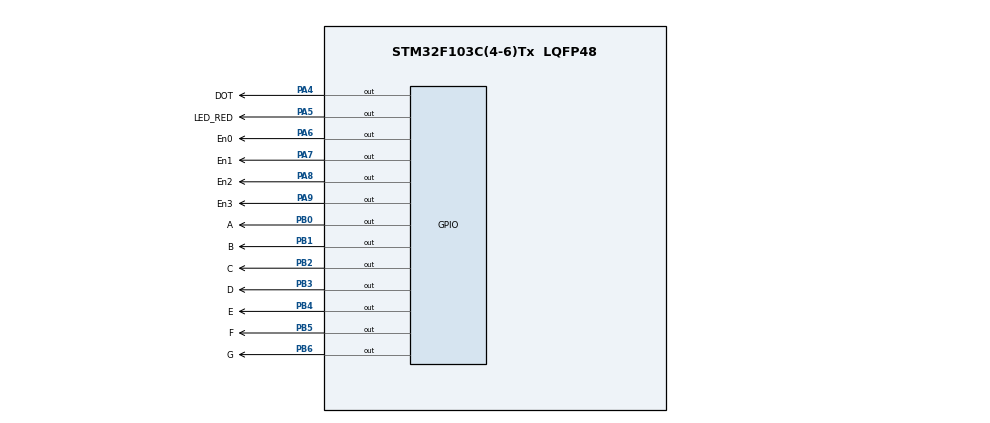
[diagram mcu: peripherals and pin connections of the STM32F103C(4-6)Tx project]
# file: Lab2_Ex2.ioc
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Mcu.Family=STM32F1
Mcu.Name=STM32F103C(4-6)Tx
Mcu.Package=LQFP48
NVIC.PriorityGroup=NVIC_PRIORITYGROUP_4
NVIC.TIM2_IRQn=true\:0\:0\:false\:false\:true\:true\:true
PA4.GPIO_Label=DOT
PA4.Signal=GPIO_Output
PA5.GPIO_Label=LED_RED
PA5.Signal=GPIO_Output
PA6.GPIO_Label=En0
PA6.Signal=GPIO_Output
PA7.GPIO_Label=En1
PA7.Signal=GPIO_Output
PA8.GPIO_Label=En2
PA8.Signal=GPIO_Output
PA9.GPIO_Label=En3
PA9.Signal=GPIO_Output
PB0.GPIO_Label=A
PB0.Signal=GPIO_Output
PB1.GPIO_Label=B
PB1.Signal=GPIO_Output
PB2.GPIO_Label=C
PB2.Signal=GPIO_Output
PB3.GPIO_Label=D
PB3.Signal=GPIO_Output
PB4.GPIO_Label=E
PB4.Signal=GPIO_Output
PB5.GPIO_Label=F
PB5.Signal=GPIO_Output
PB6.GPIO_Label=G
PB6.Signal=GPIO_Output
ProjectManager.HeapSize=0x200
ProjectManager.StackSize=0x400
ProjectManager.TargetToolchain=STM32CubeIDE
RCC.APB1Freq_Value=8000000
RCC.APB2Freq_Value=8000000
TIM2.Period=9
TIM2.Prescaler=7999
VP_SYS_VS_ND.Mode=No_Debug
VP_TIM2_VS_ClockSourceINT.Mode=Internal
board=custom

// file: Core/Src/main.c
/* USER CODE BEGIN Header */
/**
  ******************************************************************************
  * @file           : main.c
  * @brief          : Main program body
  ******************************************************************************
  * @attention
  *
  * <h2><center>&copy; Copyright (c) 2023 STMicroelectronics.
  * All rights reserved.</center></h2>
  *
  * This software component is licensed by ST under BSD 3-Clause license,
  * the "License"; You may not use this file except in compliance with the
  * License. You may obtain a copy of the License at:
  *                        opensource.org/licenses/BSD-3-Clause
  *
  ******************************************************************************
  */
/* USER CODE END Header */
#include "main.h"

TIM_HandleTypeDef htim2;

void SystemClock_Config(void);
static void MX_GPIO_Init(void);
static void MX_TIM2_Init(void);

/* USER CODE BEGIN 0 */
void display7SEG(int num) {
	switch(num) {
		case 0:
			HAL_GPIO_WritePin(A_GPIO_Port,A_Pin,RESET);
			HAL_GPIO_WritePin(B_GPIO_Port,B_Pin,RESET);
			HAL_GPIO_WritePin(C_GPIO_Port,C_Pin,RESET);
			HAL_GPIO_WritePin(D_GPIO_Port,D_Pin,RESET);
			HAL_GPIO_WritePin(E_GPIO_Port,E_Pin,RESET);
			HAL_GPIO_WritePin(F_GPIO_Port,F_Pin,RESET);
			HAL_GPIO_WritePin(G_GPIO_Port,G_Pin,SET);
			break;

		case 1:
			HAL_GPIO_WritePin(A_GPIO_Port,A_Pin,SET);
			HAL_GPIO_WritePin(B_GPIO_Port,B_Pin,RESET);
			HAL_GPIO_WritePin(C_GPIO_Port,C_Pin,RESET);
			HAL_GPIO_WritePin(D_GPIO_Port,D_Pin,SET);
			HAL_GPIO_WritePin(E_GPIO_Port,E_Pin,SET);
			HAL_GPIO_WritePin(F_GPIO_Port,F_Pin,SET);
			HAL_GPIO_WritePin(G_GPIO_Port,G_Pin,SET);
			break;

		case 2:
			HAL_GPIO_WritePin(A_GPIO_Port,A_Pin,RESET);
			HAL_GPIO_WritePin(B_GPIO_Port,B_Pin,RESET);
			HAL_GPIO_WritePin(C_GPIO_Port,C_Pin,SET);
			HAL_GPIO_WritePin(D_GPIO_Port,D_Pin,RESET);
			HAL_GPIO_WritePin(E_GPIO_Port,E_Pin,RESET);
			HAL_GPIO_WritePin(F_GPIO_Port,F_Pin,SET);
			HAL_GPIO_WritePin(G_GPIO_Port,G_Pin,RESET);
			break;

		case 3:
			HAL_GPIO_WritePin(A_GPIO_Port,A_Pin,RESET);
			HAL_GPIO_WritePin(B_GPIO_Port,B_Pin,RESET);
			HAL_GPIO_WritePin(C_GPIO_Port,C_Pin,RESET);
			HAL_GPIO_WritePin(D_GPIO_Port,D_Pin,RESET);
			HAL_GPIO_WritePin(E_GPIO_Port,E_Pin,SET);
			HAL_GPIO_WritePin(F_GPIO_Port,F_Pin,SET);
			HAL_GPIO_WritePin(G_GPIO_Port,G_Pin,RESET);
			break;

		case 4:
			HAL_GPIO_WritePin(A_GPIO_Port,A_Pin,SET);
			HAL_GPIO_WritePin(B_GPIO_Port,B_Pin,RESET);
			HAL_GPIO_WritePin(C_GPIO_Port,C_Pin,RESET);
			HAL_GPIO_WritePin(D_GPIO_Port,D_Pin,SET);
			HAL_GPIO_WritePin(E_GPIO_Port,E_Pin,SET);
			HAL_GPIO_WritePin(F_GPIO_Port,F_Pin,RESET);
			HAL_GPIO_WritePin(G_GPIO_Port,G_Pin,RESET);
			break;

		case 5:
			HAL_GPIO_WritePin(A_GPIO_Port,A_Pin,RESET);
			HAL_GPIO_WritePin(B_GPIO_Port,B_Pin,SET);
			HAL_GPIO_WritePin(C_GPIO_Port,C_Pin,RESET);
			HAL_GPIO_WritePin(D_GPIO_Port,D_Pin,RESET);
			HAL_GPIO_WritePin(E_GPIO_Port,E_Pin,SET);
			HAL_GPIO_WritePin(F_GPIO_Port,F_Pin,RESET);
			HAL_GPIO_WritePin(G_GPIO_Port,G_Pin,RESET);
			break;

		case 6:
			HAL_GPIO_WritePin(A_GPIO_Port,A_Pin,RESET);
			HAL_GPIO_WritePin(B_GPIO_Port,B_Pin,SET);
			HAL_GPIO_WritePin(C_GPIO_Port,C_Pin,RESET);
			HAL_GPIO_WritePin(D_GPIO_Port,D_Pin,RESET);
			HAL_GPIO_WritePin(E_GPIO_Port,E_Pin,RESET);
			HAL_GPIO_WritePin(F_GPIO_Port,F_Pin,RESET);
			HAL_GPIO_WritePin(G_GPIO_Port,G_Pin,RESET);
			break;

		case 7:
			HAL_GPIO_WritePin(A_GPIO_Port,A_Pin,RESET);
			HAL_GPIO_WritePin(B_GPIO_Port,B_Pin,RESET);
			HAL_GPIO_WritePin(C_GPIO_Port,C_Pin,RESET);
			HAL_GPIO_WritePin(D_GPIO_Port,D_Pin,SET);
			HAL_GPIO_WritePin(E_GPIO_Port,E_Pin,SET);
			HAL_GPIO_WritePin(F_GPIO_Port,F_Pin,SET);
			HAL_GPIO_WritePin(G_GPIO_Port,G_Pin,SET);
			break;

		case 8:
			HAL_GPIO_WritePin(A_GPIO_Port,A_Pin,RESET);
			HAL_GPIO_WritePin(B_GPIO_Port,B_Pin,RESET);
			HAL_GPIO_WritePin(C_GPIO_Port,C_Pin,RESET);
			HAL_GPIO_WritePin(D_GPIO_Port,D_Pin,RESET);
			HAL_GPIO_WritePin(E_GPIO_Port,E_Pin,RESET);
			HAL_GPIO_WritePin(F_GPIO_Port,F_Pin,RESET);
			HAL_GPIO_WritePin(G_GPIO_Port,G_Pin,RESET);
			break;

		case 9:
			HAL_GPIO_WritePin(A_GPIO_Port,A_Pin,RESET);
			HAL_GPIO_WritePin(B_GPIO_Port,B_Pin,RESET);
			HAL_GPIO_WritePin(C_GPIO_Port,C_Pin,RESET);
			HAL_GPIO_WritePin(D_GPIO_Port,D_Pin,RESET);
			HAL_GPIO_WritePin(E_GPIO_Port,E_Pin,SET);
			HAL_GPIO_WritePin(F_GPIO_Port,F_Pin,RESET);
			HAL_GPIO_WritePin(G_GPIO_Port,G_Pin,RESET);
			break;

		default:
			HAL_GPIO_WritePin(A_GPIO_Port,A_Pin,RESET);
			HAL_GPIO_WritePin(B_GPIO_Port,B_Pin,RESET);
			HAL_GPIO_WritePin(C_GPIO_Port,C_Pin,RESET);
			HAL_GPIO_WritePin(D_GPIO_Port,D_Pin,RESET);
			HAL_GPIO_WritePin(E_GPIO_Port,E_Pin,RESET);
			HAL_GPIO_WritePin(F_GPIO_Port,F_Pin,RESET);
			HAL_GPIO_WritePin(G_GPIO_Port,G_Pin,RESET);
	}
}
/* USER CODE END 0 */

int main(void)
{

  /* MCU Configuration--------------------------------------------------------*/

  /* Reset of all peripherals, Initializes the Flash interface and the Systick. */
  HAL_Init();

  /* Configure the system clock */
  SystemClock_Config();

  /* Initialize all configured peripherals */
  MX_GPIO_Init();
  MX_TIM2_Init();
  /* USER CODE BEGIN 2 */
  HAL_TIM_Base_Start_IT(&htim2);

  /* USER CODE END 2 */

  /* Infinite loop */
  while (1)
  {

  }
}

void SystemClock_Config(void)
{
  RCC_OscInitTypeDef RCC_OscInitStruct = {0};
  RCC_ClkInitTypeDef RCC_ClkInitStruct = {0};

  /** Initializes the RCC Oscillators according to the specified parameters
  * in the RCC_OscInitTypeDef structure.
  */
  RCC_OscInitStruct.OscillatorType = RCC_OSCILLATORTYPE_HSI;
  RCC_OscInitStruct.HSIState = RCC_HSI_ON;
  RCC_OscInitStruct.HSICalibrationValue = RCC_HSICALIBRATION_DEFAULT;
  RCC_OscInitStruct.PLL.PLLState = RCC_PLL_NONE;
  if (HAL_RCC_OscConfig(&RCC_OscInitStruct) != HAL_OK)
  {
    Error_Handler();
  }
  /** Initializes the CPU, AHB and APB buses clocks
  */
  RCC_ClkInitStruct.ClockType = RCC_CLOCKTYPE_HCLK|RCC_CLOCKTYPE_SYSCLK
                              |RCC_CLOCKTYPE_PCLK1|RCC_CLOCKTYPE_PCLK2;
  RCC_ClkInitStruct.SYSCLKSource = RCC_SYSCLKSOURCE_HSI;
  RCC_ClkInitStruct.AHBCLKDivider = RCC_SYSCLK_DIV1;
  RCC_ClkInitStruct.APB1CLKDivider = RCC_HCLK_DIV1;
  RCC_ClkInitStruct.APB2CLKDivider = RCC_HCLK_DIV1;

  if (HAL_RCC_ClockConfig(&RCC_ClkInitStruct, FLASH_LATENCY_0) != HAL_OK)
  {
    Error_Handler();
  }
}

static void MX_TIM2_Init(void)
{

  TIM_ClockConfigTypeDef sClockSourceConfig = {0};
  TIM_MasterConfigTypeDef sMasterConfig = {0};

  htim2.Instance = TIM2;
  htim2.Init.Prescaler = 7999;
  htim2.Init.CounterMode = TIM_COUNTERMODE_UP;
  htim2.Init.Period = 9;
  htim2.Init.ClockDivision = TIM_CLOCKDIVISION_DIV1;
  htim2.Init.AutoReloadPreload = TIM_AUTORELOAD_PRELOAD_DISABLE;
  if (HAL_TIM_Base_Init(&htim2) != HAL_OK)
  {
    Error_Handler();
  }
  sClockSourceConfig.ClockSource = TIM_CLOCKSOURCE_INTERNAL;
  if (HAL_TIM_ConfigClockSource(&htim2, &sClockSourceConfig) != HAL_OK)
  {
    Error_Handler();
  }
  sMasterConfig.MasterOutputTrigger = TIM_TRGO_RESET;
  sMasterConfig.MasterSlaveMode = TIM_MASTERSLAVEMODE_DISABLE;
  if (HAL_TIMEx_MasterConfigSynchronization(&htim2, &sMasterConfig) != HAL_OK)
  {
    Error_Handler();
  }

}

static void MX_GPIO_Init(void)
{
  GPIO_InitTypeDef GPIO_InitStruct = {0};

  /* GPIO Ports Clock Enable */
  __HAL_RCC_GPIOA_CLK_ENABLE();
  __HAL_RCC_GPIOB_CLK_ENABLE();

  /*Configure GPIO pin Output Level */
  HAL_GPIO_WritePin(GPIOA, DOT_Pin|LED_RED_Pin|En0_Pin|En1_Pin
                          |En2_Pin|En3_Pin, GPIO_PIN_RESET);

  /*Configure GPIO pin Output Level */
  HAL_GPIO_WritePin(GPIOB, A_Pin|B_Pin|C_Pin|D_Pin
                          |E_Pin|F_Pin|G_Pin, GPIO_PIN_RESET);

  /*Configure GPIO pins : DOT_Pin LED_RED_Pin En0_Pin En1_Pin
                           En2_Pin En3_Pin */
  GPIO_InitStruct.Pin = DOT_Pin|LED_RED_Pin|En0_Pin|En1_Pin
                          |En2_Pin|En3_Pin;
  GPIO_InitStruct.Mode = GPIO_MODE_OUTPUT_PP;
  GPIO_InitStruct.Pull = GPIO_NOPULL;
  GPIO_InitStruct.Speed = GPIO_SPEED_FREQ_LOW;
  HAL_GPIO_Init(GPIOA, &GPIO_InitStruct);

  /*Configure GPIO pins : A_Pin B_Pin C_Pin D_Pin
                           E_Pin F_Pin G_Pin */
  GPIO_InitStruct.Pin = A_Pin|B_Pin|C_Pin|D_Pin
                          |E_Pin|F_Pin|G_Pin;
  GPIO_InitStruct.Mode = GPIO_MODE_OUTPUT_PP;
  GPIO_InitStruct.Pull = GPIO_NOPULL;
  GPIO_InitStruct.Speed = GPIO_SPEED_FREQ_LOW;
  HAL_GPIO_Init(GPIOB, &GPIO_InitStruct);

}

/* USER CODE BEGIN 4 */
int counter = 25;
int enable = 0;
int en_dot = 0;
void HAL_TIM_PeriodElapsedCallback(TIM_HandleTypeDef *htim){
	counter--;
	if(counter <= 0){
		counter = 25;
		HAL_GPIO_TogglePin(LED_RED_GPIO_Port, LED_RED_Pin);
		switch(enable) {
		case 0:
			HAL_GPIO_WritePin(En0_GPIO_Port, En0_Pin, RESET);
			HAL_GPIO_WritePin(En1_GPIO_Port, En1_Pin, SET);
			HAL_GPIO_WritePin(En2_GPIO_Port, En2_Pin, SET);
			HAL_GPIO_WritePin(En3_GPIO_Port, En3_Pin, SET);
			display7SEG(1);
			enable = 1;
			break;
		case 1:
			HAL_GPIO_WritePin(En0_GPIO_Port, En0_Pin, SET);
			HAL_GPIO_WritePin(En1_GPIO_Port, En1_Pin, RESET);
			HAL_GPIO_WritePin(En2_GPIO_Port, En2_Pin, SET);
			HAL_GPIO_WritePin(En3_GPIO_Port, En3_Pin, SET);
			display7SEG(2);
			enable = 2;
			break;
		case 2:
			HAL_GPIO_WritePin(En0_GPIO_Port, En0_Pin, SET);
			HAL_GPIO_WritePin(En1_GPIO_Port, En1_Pin, SET);
			HAL_GPIO_WritePin(En2_GPIO_Port, En2_Pin, RESET);
			HAL_GPIO_WritePin(En3_GPIO_Port, En3_Pin, SET);
			display7SEG(3);
			enable = 3;
			break;
		case 3:
			HAL_GPIO_WritePin(En0_GPIO_Port, En0_Pin, SET);
			HAL_GPIO_WritePin(En1_GPIO_Port, En1_Pin, SET);
			HAL_GPIO_WritePin(En2_GPIO_Port, En2_Pin, SET);
			HAL_GPIO_WritePin(En3_GPIO_Port, En3_Pin, RESET);
			display7SEG(4);
			enable = 0;
			break;
		default:
			HAL_GPIO_WritePin(En0_GPIO_Port, En0_Pin, RESET);
			HAL_GPIO_WritePin(En1_GPIO_Port, En1_Pin, RESET);
			HAL_GPIO_WritePin(En2_GPIO_Port, En2_Pin, RESET);
			HAL_GPIO_WritePin(En3_GPIO_Port, En3_Pin, RESET);
			display7SEG(0);
		}
		en_dot++;
		if(en_dot == 2){
			en_dot = 0;
			HAL_GPIO_TogglePin(DOT_GPIO_Port, DOT_Pin);
		}
	}
}
/* USER CODE END 4 */

void Error_Handler(void)
{
  __disable_irq();
  while (1)
  {
  }
}

/************************ (C) COPYRIGHT STMicroelectronics *****END OF FILE****/
